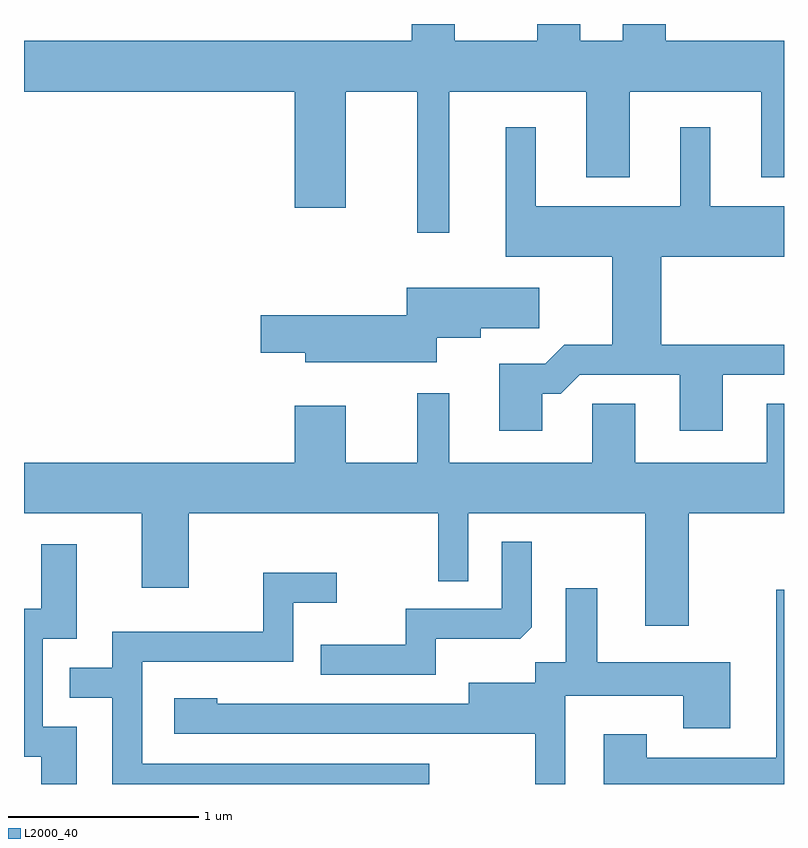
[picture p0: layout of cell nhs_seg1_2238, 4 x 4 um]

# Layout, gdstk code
import gdstk
lib = gdstk.Library(unit=1e-6, precision=1e-09)
def P(c, l, *ps):  # polygons
    for p in ps: c.add(gdstk.Polygon(p, *l))
L2000_40 = (2000, 40)

nhs_seg1_2238 = lib.new_cell('nhs_seg1_2238')
P(nhs_seg1_2238, L2000_40, [(255.849,897.356),(256.571,897.356),(256.571,896.906),(256.799,896.906),(256.799,897.356),(257.491,897.356),(257.491,896.906),(257.611,896.906),(257.611,897.624),(256.989,897.624),(256.989,897.712),(256.761,897.712),(256.761,897.624),(256.539,897.624),(256.539,897.712),(256.311,897.712),(256.311,897.624),(255.879,897.624),(255.879,897.712),(255.651,897.712),(255.651,897.624),(253.611,897.624),(253.611,897.356),(255.036,897.356),(255.036,896.746),(255.304,896.746),(255.304,897.356),(255.681,897.356),(255.681,896.613),(255.849,896.613)],
  [(256.339,895.766),(256.437,895.766),(256.537,895.866),(257.061,895.866),(257.061,895.571),(257.289,895.571),(257.289,895.866),(257.611,895.866),(257.611,896.024),(256.964,896.024),(256.964,896.486),(257.611,896.486),(257.611,896.754),(257.224,896.754),(257.224,897.168),(257.066,897.168),(257.066,896.754),(256.304,896.754),(256.304,897.168),(256.146,897.168),(256.146,896.486),(256.706,896.486),(256.706,896.024),(256.454,896.024),(256.354,895.924),(256.111,895.924),(256.111,895.571),(256.339,895.571)],
  [(255.784,896.061),(256.014,896.061),(256.014,896.111),(256.324,896.111),(256.324,896.324),(255.626,896.324),(255.626,896.179),(254.856,896.179),(254.856,895.981),(255.091,895.981),(255.091,895.931),(255.784,895.931)],
  [(257.109,895.136),(257.611,895.136),(257.611,895.714),(257.521,895.714),(257.521,895.404),(256.829,895.404),(256.829,895.714),(256.601,895.714),(256.601,895.404),(255.849,895.404),(255.849,895.768),(255.681,895.768),(255.681,895.404),(255.304,895.404),(255.304,895.704),(255.036,895.704),(255.036,895.404),(253.611,895.404),(253.611,895.136),(254.231,895.136),(254.231,894.746),(254.479,894.746),(254.479,895.136),(255.791,895.136),(255.791,894.778),(255.949,894.778),(255.949,895.136),(256.881,895.136),(256.881,894.546),(257.109,894.546)],
  [(255.779,894.476),(256.224,894.476),(256.284,894.537),(256.284,894.988),(256.126,894.988),(256.126,894.634),(255.621,894.634),(255.621,894.444),(255.173,894.444),(255.173,894.286),(255.779,894.286)],
  [(253.889,894.014),(253.709,894.014),(253.709,894.476),(253.889,894.476),(253.889,894.974),(253.701,894.974),(253.701,894.634),(253.611,894.634),(253.611,893.856),(253.701,893.856),(253.701,893.712),(253.889,893.712)],
  [(255.744,893.819),(254.234,893.819),(254.234,894.356),(255.029,894.356),(255.029,894.666),(255.258,894.666),(255.258,894.824),(254.871,894.824),(254.871,894.514),(254.076,894.514),(254.076,894.324),(253.853,894.324),(253.853,894.166),(254.076,894.166),(254.076,893.712),(255.744,893.712)],
  [(256.459,894.176),(257.081,894.176),(257.081,894.006),(257.329,894.006),(257.329,894.354),(256.629,894.354),(256.629,894.743),(256.461,894.743),(256.461,894.354),(256.301,894.354),(256.301,894.244),(255.951,894.244),(255.951,894.134),(254.629,894.134),(254.629,894.164),(254.401,894.164),(254.401,893.976),(256.301,893.976),(256.301,893.712),(256.459,893.712)],
  [(257.611,894.734),(257.571,894.734),(257.571,893.849),(256.889,893.849),(256.889,893.974),(256.661,893.974),(256.661,893.712),(257.611,893.712)])

lib.write_gds('nhs_seg1_2238.gds')
